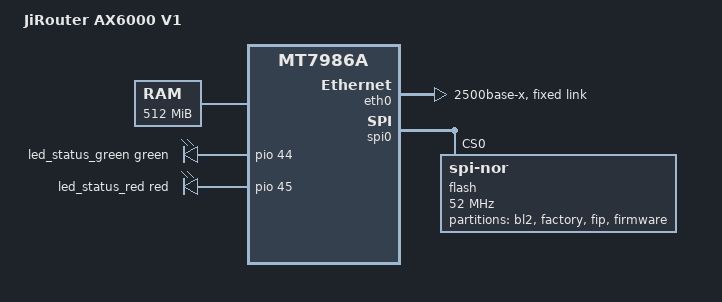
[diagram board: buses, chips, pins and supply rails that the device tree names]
// SPDX-License-Identifier: (GPL-2.0 OR MIT)
/dts-v1/;
#include "mt7986a.dtsi"
#include <dt-bindings/gpio/gpio.h>
#include <dt-bindings/leds/common.h>

/ {
	model = "JiRouter AX6000 V1";
	compatible = "jrouter,ax6000-v1", "mediatek,mt7986a";

	aliases {
		led-boot = &led_status_green;
		led-failsafe = &led_status_red;
		led-running = &led_status_green;
		led-upgrade = &led_status_green;
	};

	chosen {
		stdout-path = "serial0:115200n8";
		bootargs-override = "console=ttyS0,115200n8 root=/dev/fit0 rootwait";
	};

	memory@40000000 {
		device_type = "memory";
		reg = <0 0x40000000 0 0x20000000>;
	};

	leds {
		compatible = "gpio-leds";
		led_status_green: status_green {
			function = LED_FUNCTION_STATUS;
			color = <LED_COLOR_ID_GREEN>;
			gpios = <&pio 44 GPIO_ACTIVE_HIGH>;
		};
		led_status_red: status_red {
			function = LED_FUNCTION_STATUS;
			color = <LED_COLOR_ID_RED>;
			gpios = <&pio 45 GPIO_ACTIVE_HIGH>;
		};
	};
};

&eth0 {
	status = "okay";
	mediatek,gmac-id = <0>;
	phy-mode = "2500base-x";
	fixed-link {
		speed = <2500>;
		full-duplex;
		pause;
	};
};

&spi0 {
	pinctrl-names = "default";
	pinctrl-0 = <&spi0_flash_pins>;
	status = "okay";

	flash@0 {
		compatible = "jedec,spi-nor";
		reg = <0>;
		spi-max-frequency = <52000000>;

		partitions {
			compatible = "fixed-partitions";
			#address-cells = <1>;
			#size-cells = <1>;
			partition@0 { label = "bl2"; reg = <0x000000 0x080000>; read-only; };
			partition@100000 { label = "factory"; reg = <0x100000 0x200000>; read-only; };
			partition@300000 { label = "fip"; reg = <0x300000 0x200000>; read-only; };
			partition@500000 { label = "firmware"; reg = <0x500000 0x7b00000>; };
		};
	};
};
